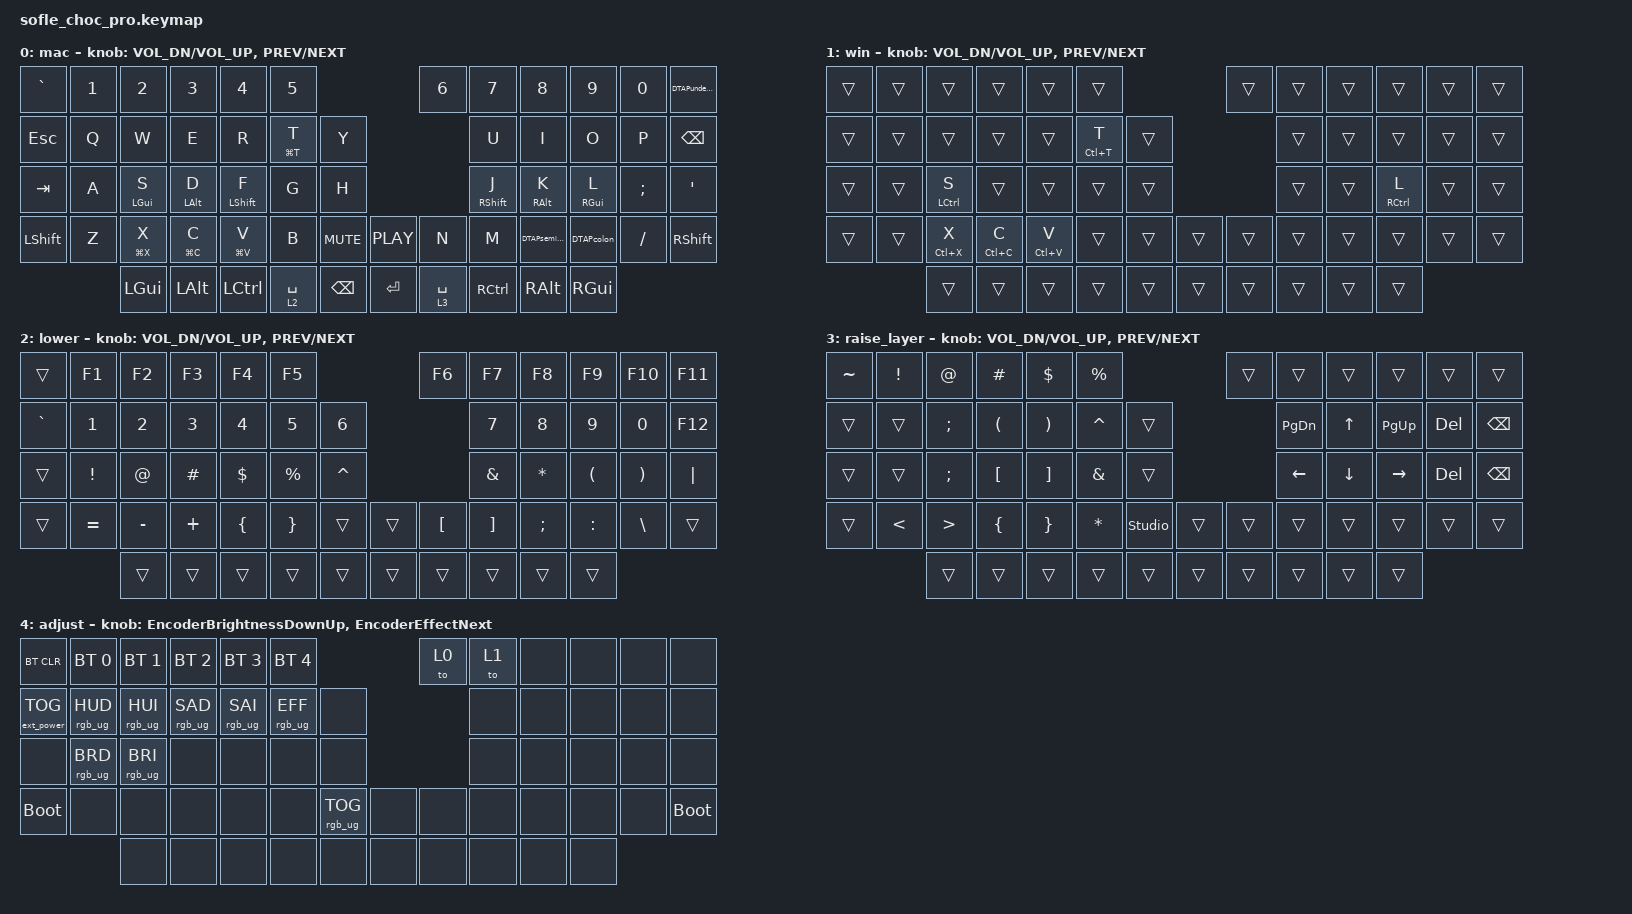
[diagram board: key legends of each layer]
/*
* Copyright (c) 2020 The ZMK Contributors
*
* SPDX-License-Identifier: MIT
*/

#include <behaviors.dtsi>
#include <dt-bindings/zmk/bt.h>
#include <dt-bindings/zmk/ext_power.h>
#include <dt-bindings/zmk/keys.h>
#include <dt-bindings/zmk/rgb.h>

#define BASE 0
#define LOWER 1
#define RAISE 2
#define ADJUST 3

/ {
    // Activate ADJUST layer by pressing raise and lower

    conditional_layers {
        compatible = "zmk,conditional-layers";

        adjust_layer {
            if-layers = <2 3>;
            then-layer = <4>;
        };
    };

    behaviors {
        DTAPunderscore: DTAPunderscore {
            compatible = "zmk,behavior-tap-dance";
            label = "DTAPUNDERSCORE";
            #binding-cells = <0>;
            bindings = <&kp MINUS>, <&kp UNDERSCORE>;
        };

        DTAPsemicolon: DTAPsemicolon {
            compatible = "zmk,behavior-tap-dance";
            label = "DTAPSEMICOLON";
            #binding-cells = <0>;
            bindings = <&kp KP_COMMA>, <&kp SEMICOLON>;
        };

        DTAPcolon: DTAPcolon {
            compatible = "zmk,behavior-tap-dance";
            label = "DTAPCOLON";
            #binding-cells = <0>;
            bindings = <&kp KP_DOT>, <&kp COLON>;
        };

        longPress: longPress {
            compatible = "zmk,behavior-hold-tap";
            label = "LONGPRESS";
            bindings = <&kp>, <&kp>;

            #binding-cells = <2>;
            tapping-term-ms = <350>;
            flavor = "tap-preferred";
        };

        HMShiftR: HMShiftR {
            compatible = "zmk,behavior-hold-tap";
            label = "HMSHIFTR";
            bindings = <&kp>, <&kp>;

            #binding-cells = <2>;
            tapping-term-ms = <200>;
            hold-trigger-on-release;
            hold-trigger-key-positions = <0 1 2 3 4 5 12 13 14 15 16 17 24 25 26 27 28 29 36 37 38 39 40 41 42 50 51 52 53 54>;
            quick-tap-ms = <100>;
            flavor = "hold-preferred";
        };

        HMShiftL: HMShiftL {
            compatible = "zmk,behavior-hold-tap";
            label = "HMSHIFTL";
            bindings = <&kp>, <&kp>;

            #binding-cells = <2>;
            tapping-term-ms = <200>;
            hold-trigger-on-release;
            hold-trigger-key-positions = <6 7 8 9 10 11 18 19 20 21 22 23 30 31 32 33 34 35 43 44 45 46 47 48 49 55 56 57 58 59>;
            quick-tap-ms = <100>;
            flavor = "hold-preferred";
        };

        HMR: HMR {
            compatible = "zmk,behavior-hold-tap";
            label = "HMR";
            bindings = <&kp>, <&kp>;

            #binding-cells = <2>;
            tapping-term-ms = <200>;
            hold-trigger-on-release;
            hold-trigger-key-positions = <0 1 2 3 4 5 12 13 14 15 16 17 24 25 26 27 28 29 36 37 38 39 40 41 42 50 51 52 53 54>;
            flavor = "tap-preferred";
            quick-tap-ms = <100>;
        };

        HML: HML {
            compatible = "zmk,behavior-hold-tap";
            label = "HML";
            bindings = <&kp>, <&kp>;

            #binding-cells = <2>;
            tapping-term-ms = <200>;
            hold-trigger-on-release;
            hold-trigger-key-positions = <6 7 8 9 10 11 18 19 20 21 22 23 30 31 32 33 34 35 43 44 45 46 47 48 49 55 56 57 58 59>;
            flavor = "tap-preferred";
            quick-tap-ms = <100>;
        };

        EncoderBrightnessDownUp: EncoderBrightnessDownUp {
            compatible = "zmk,behavior-sensor-rotate";
            label = "ENCODERBRIGHTNESSDOWNUP";
            #sensor-binding-cells = <0>;
            bindings = <&rgb_ug RGB_BRD>, <&rgb_ug RGB_BRI>;
        };

        EncoderEffectNext: EncoderEffectNext {
            compatible = "zmk,behavior-sensor-rotate";
            label = "ENCODEREFFECTNEXT";
            #sensor-binding-cells = <0>;
            bindings = <&rgb_ug RGB_EFR>, <&rgb_ug RGB_EFF>;
        };
    };

    keymap {
        compatible = "zmk,keymap";

        mac_layer {
            display-name = "mac";

            // ------------------------------------------------------------------------------------------------------------
            // |   `   |  1  |  2  |  3   |  4   |  5   |                   |  6   |  7    |  8    |  9   |   0   |   `   |
            // |  ESC  |  Q  |  W  |  E   |  R   |  T   |                   |  Y   |  U    |  I    |  O   |   P   | BKSPC |
            // |  TAB  |  A  |  S  |  D   |  F   |  G   |                   |  H   |  J    |  K    |  L   |   ;   |   '   |
            // | SHIFT |  Z  |  X  |  C   |  V   |  B   |  MUTE  |  | PLAY  |  N   |  M    |  ,    |  .   |   /   | SHIFT |
            //               | GUI | ALT  | CTRL | LOWER|  ENTER |  | SPACE | RAISE| CTRL  | ALT   | GUI  |

            bindings = <
&kp GRAVE  &kp N1  &kp N2              &kp N3              &kp N4                  &kp N5                                         &kp N6       &kp N7                   &kp N8            &kp N9       &kp N0    &DTAPunderscore
&kp ESC    &kp Q   &kp W               &kp E               &kp R                   &longPress LG(T) T  &kp Y                                   &kp U                    &kp I             &kp O        &kp P     &kp BSPC
&kp TAB    &kp A   &HML LGUI S         &HML LEFT_ALT D     &HMShiftL LEFT_SHIFT F  &kp G               &kp H                                   &HMShiftR RIGHT_SHIFT J  &HMR RIGHT_ALT K  &HMR RGUI L  &kp SEMI  &kp SQT
&kp LSHFT  &kp Z   &longPress LG(X) X  &longPress LG(C) C  &longPress LG(V) V      &kp B               &kp C_MUTE     &kp C_PLAY  &kp N        &kp M                    &DTAPsemicolon    &DTAPcolon   &kp FSLH  &kp RSHFT
                   &kp LGUI            &kp LALT            &kp LCTRL               &lt 2 SPACE         &kp BACKSPACE  &kp RET     &lt 3 SPACE  &kp RCTRL                &kp RALT          &kp RGUI
            >;

            sensor-bindings = <&inc_dec_kp C_VOL_DN C_VOL_UP &inc_dec_kp C_PREV C_NEXT>;
        };

        win_layer {
            display-name = "win";
            bindings = <
&trans  &trans  &trans              &trans              &trans              &trans                              &trans  &trans  &trans  &trans        &trans  &trans
&trans  &trans  &trans              &trans              &trans              &longPress LC(T) T  &trans                  &trans  &trans  &trans        &trans  &trans
&trans  &trans  &HML LCTRL S        &trans              &trans              &trans              &trans                  &trans  &trans  &HMR RCTRL L  &trans  &trans
&trans  &trans  &longPress LC(X) X  &longPress LC(C) C  &longPress LC(V) V  &trans              &trans  &trans  &trans  &trans  &trans  &trans        &trans  &trans
                &trans              &trans              &trans              &trans              &trans  &trans  &trans  &trans  &trans  &trans
            >;

            sensor-bindings =
                <&inc_dec_kp C_VOL_DN C_VOL_UP>,
                <&inc_dec_kp C_PREV C_NEXT>;
        };

        lower_layer {
            display-name = "lower";

            // ------------------------------------------------------------------------------------------------------------
            // |       |  F1 |  F2 |  F3  |  F4  |  F5  |                   |  F6  |  F7   |  F8   |  F9  |  F10  |  F11  |
            // |   `   |  1  |  2  |  3   |  4   |  5   |                   |  6   |  7    |  8    |  9   |   0   |  F12  |
            // |       |  !  |  @  |  #   |  $   |  %   |                   |  ^   |  &    |  *    |  (   |   )   |   |   |
            // |       |  =  |  -  |  +   |  {   |  }   |        |  |       |  [   |  ]    |  ;    |  :   |   \   |       |
            //               |     |      |      |      |        |  |       |      |       |       |      |

            bindings = <
&trans     &kp F1     &kp F2     &kp F3    &kp F4    &kp F5                        &kp F6    &kp F7    &kp F8     &kp F9     &kp F10   &kp F11
&kp GRAVE  &kp N1     &kp N2     &kp N3    &kp N4    &kp N5     &kp N6                       &kp N7    &kp N8     &kp N9     &kp N0    &kp F12
&trans     &kp EXCL   &kp AT     &kp HASH  &kp DLLR  &kp PRCNT  &kp CARET                    &kp AMPS  &kp ASTRK  &kp LPAR   &kp RPAR  &kp PIPE
&trans     &kp EQUAL  &kp MINUS  &kp PLUS  &kp LBRC  &kp RBRC   &trans     &trans  &kp LBKT  &kp RBKT  &kp SEMI   &kp COLON  &kp BSLH  &trans
                      &trans     &trans    &trans    &trans     &trans     &trans  &trans    &trans    &trans     &trans
            >;

            sensor-bindings = <&inc_dec_kp C_VOL_DN C_VOL_UP &inc_dec_kp C_PREV C_NEXT>;
        };

        raise_layer {
            display-name = "raise_layer";
            bindings = <
&kp TILDE  &kp EXCLAMATION  &kp AT_SIGN       &kp HASH              &kp DOLLAR             &kp PERCENT                            &trans  &trans     &trans    &trans     &trans   &trans
&trans     &trans           &kp SEMI          &kp LEFT_PARENTHESIS  &kp RIGHT_PARENTHESIS  &kp CARET      &trans                          &kp PG_DN  &kp UP    &kp PG_UP  &kp DEL  &kp BSPC
&trans     &trans           &kp SEMI          &kp LBKT              &kp RBKT               &kp AMPERSAND  &trans                          &kp LEFT   &kp DOWN  &kp RIGHT  &kp DEL  &kp BSPC
&trans     &kp LESS_THAN    &kp GREATER_THAN  &kp LEFT_BRACE        &kp RIGHT_BRACE        &kp ASTERISK   &studio_unlock  &trans  &trans  &trans     &trans    &trans     &trans   &trans
                            &trans            &trans                &trans                 &trans         &trans          &trans  &trans  &trans     &trans    &trans
            >;

            sensor-bindings =
                <&inc_dec_kp C_VOL_DN C_VOL_UP>,
                <&inc_dec_kp C_PREV C_NEXT>;

            label = "raise";
        };

        adjust_layer {
            // ----------------------------------------------------------------------------------------------------------------------------
            // | BTCLR  |  BT1    |  BT2    |   BT3   |   BT4   |   BT5   |                  |      |      |       |      |       |       |
            // | EXTPWR | RGB_HUD | RGB_HUI | RGB_SAD | RGB_SAI | RGB_EFF |                  |      |      |       |      |       |       |
            // |        | RGB_BRD | RGB_BRI |         |         |         |                  |      |      |       |      |       |       |
            // |        |         |         |         |         |         | RGB_TOG | |      |      |      |       |      |       |       |
            //                    |         |         |         |         |         | |      |      |      |       |      |

            display-name = "adjust";
            bindings = <
&bt BT_CLR         &bt BT_SEL 0     &bt BT_SEL 1     &bt BT_SEL 2     &bt BT_SEL 3     &bt BT_SEL 4                             &to 0  &to 1  &none  &none  &none  &none
&ext_power EP_TOG  &rgb_ug RGB_HUD  &rgb_ug RGB_HUI  &rgb_ug RGB_SAD  &rgb_ug RGB_SAI  &rgb_ug RGB_EFF  &none                          &none  &none  &none  &none  &none
&none              &rgb_ug RGB_BRD  &rgb_ug RGB_BRI  &none            &none            &none            &none                          &none  &none  &none  &none  &none
&bootloader        &none            &none            &none            &none            &none            &rgb_ug RGB_TOG  &none  &none  &none  &none  &none  &none  &bootloader
                                    &none            &none            &none            &none            &none            &none  &none  &none  &none  &none
            >;

            sensor-bindings = <&EncoderBrightnessDownUp>, <&EncoderEffectNext>;
        };
    };
};
